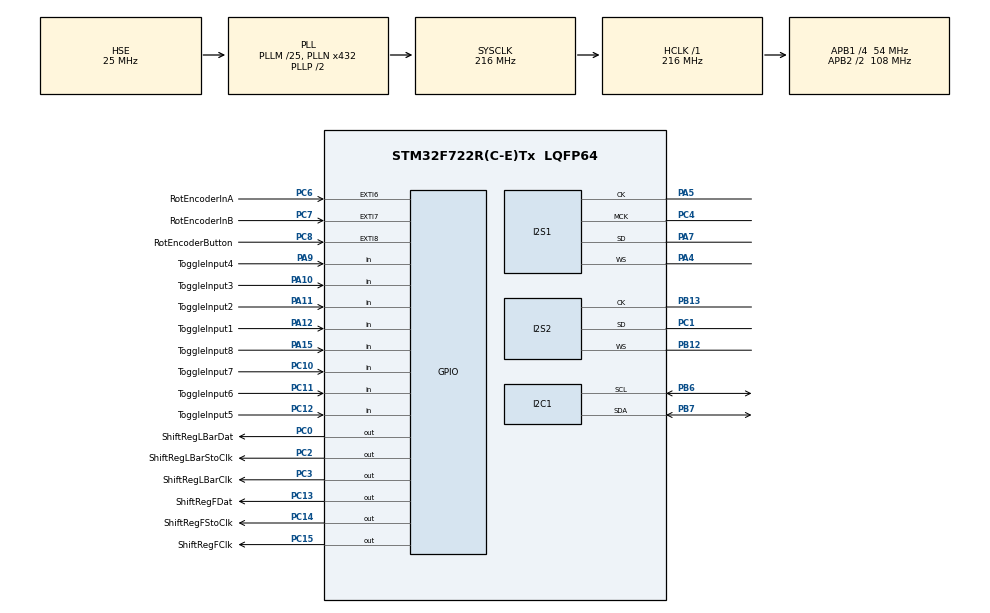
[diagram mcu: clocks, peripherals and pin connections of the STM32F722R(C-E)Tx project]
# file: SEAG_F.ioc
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Dma.Request0=SPI2_RX
Dma.Request1=SPI1_TX
Dma.SPI1_TX.1.Direction=DMA_MEMORY_TO_PERIPH
Dma.SPI1_TX.1.FIFOMode=DMA_FIFOMODE_DISABLE
Dma.SPI1_TX.1.Instance=DMA2_Stream3
Dma.SPI1_TX.1.MemDataAlignment=DMA_MDATAALIGN_HALFWORD
Dma.SPI1_TX.1.MemInc=DMA_MINC_ENABLE
Dma.SPI1_TX.1.Mode=DMA_CIRCULAR
Dma.SPI1_TX.1.PeriphDataAlignment=DMA_PDATAALIGN_HALFWORD
Dma.SPI1_TX.1.PeriphInc=DMA_PINC_DISABLE
Dma.SPI1_TX.1.Priority=DMA_PRIORITY_VERY_HIGH
Dma.SPI2_RX.0.Direction=DMA_PERIPH_TO_MEMORY
Dma.SPI2_RX.0.FIFOMode=DMA_FIFOMODE_DISABLE
Dma.SPI2_RX.0.Instance=DMA1_Stream3
Dma.SPI2_RX.0.MemDataAlignment=DMA_MDATAALIGN_HALFWORD
Dma.SPI2_RX.0.MemInc=DMA_MINC_ENABLE
Dma.SPI2_RX.0.Mode=DMA_CIRCULAR
Dma.SPI2_RX.0.PeriphDataAlignment=DMA_PDATAALIGN_HALFWORD
Dma.SPI2_RX.0.PeriphInc=DMA_PINC_DISABLE
Dma.SPI2_RX.0.Priority=DMA_PRIORITY_VERY_HIGH
I2C1.Timing=0x20404768
I2S1.AudioFreq=I2S_AUDIOFREQ_44K
I2S1.DataFormat=I2S_DATAFORMAT_16B
I2S1.ErrorAudioFreq=-5.3 %
I2S1.FullDuplexMode=I2S_FULLDUPLEXMODE_DISABLE
I2S1.Instance=SPI$Index
I2S1.Mode=I2S_MODE_MASTER_TX
I2S1.RealAudioFreq=41.666 KHz
I2S1.VirtualMode=I2S_MODE_MASTER
I2S2.AudioFreq=I2S_AUDIOFREQ_44K
I2S2.DataFormat=I2S_DATAFORMAT_16B
I2S2.ErrorAudioFreq=0.26 %
I2S2.FullDuplexMode=I2S_FULLDUPLEXMODE_DISABLE
I2S2.Instance=SPI$Index
I2S2.Mode=I2S_MODE_SLAVE_RX
I2S2.RealAudioFreq=44.117 KHz
I2S2.VirtualMode=I2S_MODE_SLAVE
Mcu.Family=STM32F7
Mcu.Name=STM32F722R(C-E)Tx
Mcu.Package=LQFP64
NVIC.DMA1_Stream3_IRQn=true\:0\:0\:false\:false\:true\:false\:true\:true
NVIC.DMA2_Stream3_IRQn=true\:0\:0\:false\:false\:true\:false\:true\:true
NVIC.EXTI9_5_IRQn=true\:0\:0\:false\:false\:true\:true\:true\:true
NVIC.PriorityGroup=NVIC_PRIORITYGROUP_4
PA10.GPIO_Label=ToggleInput3
PA10.Signal=GPIO_Input
PA11.GPIO_Label=ToggleInput2
PA11.Signal=GPIO_Input
PA12.GPIO_Label=ToggleInput1
PA12.Signal=GPIO_Input
PA13.Mode=Serial_Wire
PA13.Signal=SYS_JTMS-SWDIO
PA14.Mode=Serial_Wire
PA14.Signal=SYS_JTCK-SWCLK
PA15.GPIO_Label=ToggleInput8
PA15.Signal=GPIO_Input
PA4.Mode=Half_Duplex_Master
PA4.Signal=I2S1_WS
PA5.Mode=Half_Duplex_Master
PA5.Signal=I2S1_CK
PA7.Mode=Half_Duplex_Master
PA7.Signal=I2S1_SD
PA9.GPIO_Label=ToggleInput4
PA9.Signal=GPIO_Input
PB12.Mode=Half_Duplex_Slave
PB12.Signal=I2S2_WS
PB13.Mode=Half_Duplex_Slave
PB13.Signal=I2S2_CK
PB6.Mode=I2C
PB6.Signal=I2C1_SCL
PB7.Mode=I2C
PB7.Signal=I2C1_SDA
PC0.GPIO_Label=ShiftRegLBarDat
PC0.Signal=GPIO_Output
PC1.Mode=Half_Duplex_Slave
PC1.Signal=I2S2_SD
PC10.GPIO_Label=ToggleInput7
PC10.Signal=GPIO_Input
PC11.GPIO_Label=ToggleInput6
PC11.Signal=GPIO_Input
PC12.GPIO_Label=ToggleInput5
PC12.Signal=GPIO_Input
PC13.GPIO_Label=ShiftRegFDat
PC13.Signal=GPIO_Output
PC14-OSC32_IN.GPIO_Label=ShiftRegFStoClk
PC14-OSC32_IN.Signal=GPIO_Output
PC15-OSC32_OUT.GPIO_Label=ShiftRegFClk
PC15-OSC32_OUT.Signal=GPIO_Output
PC2.GPIO_Label=ShiftRegLBarStoClk
PC2.Signal=GPIO_Output
PC3.GPIO_Label=ShiftRegLBarClk
PC3.Signal=GPIO_Output
PC4.Mode=Master_Clock_Activated
PC4.Signal=I2S1_MCK
PC6.GPIO_Label=RotEncoderInA
PC6.Signal=GPXTI6
PC7.GPIO_Label=RotEncoderInB
PC7.GPIO_ModeDefaultEXTI=GPIO_MODE_IT_RISING_FALLING
PC7.Signal=GPXTI7
PC8.GPIO_Label=RotEncoderButton
PC8.GPIO_ModeDefaultEXTI=GPIO_MODE_IT_RISING
PC8.Signal=GPXTI8
PH0-OSC_IN.Mode=HSE-External-Oscillator
PH0-OSC_IN.Signal=RCC_OSC_IN
PH1-OSC_OUT.Mode=HSE-External-Oscillator
PH1-OSC_OUT.Signal=RCC_OSC_OUT
ProjectManager.HeapSize=0x200
ProjectManager.StackSize=0x400
ProjectManager.TargetToolchain=STM32CubeIDE
RCC.AHBFreq_Value=216000000
RCC.APB1CLKDivider=RCC_HCLK_DIV4
RCC.APB1Freq_Value=54000000
RCC.APB1TimFreq_Value=108000000
RCC.APB2CLKDivider=RCC_HCLK_DIV2
RCC.APB2Freq_Value=108000000
RCC.APB2TimFreq_Value=216000000
RCC.CortexFreq_Value=216000000
RCC.HCLKFreq_Value=216000000
RCC.HSE_VALUE=25000000
RCC.HSI_VALUE=16000000
RCC.LSE_VALUE=32768
RCC.PLLM=25
RCC.PLLN=432
RCC.PLLSourceVirtual=RCC_PLLSOURCE_HSE
RCC.SYSCLKFreq_VALUE=216000000
RCC.SYSCLKSource=RCC_SYSCLKSOURCE_PLLCLK
RCC.USBFreq_Value=216000000
RCC.VCOOutputFreq_Value=432000000
board=custom

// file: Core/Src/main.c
/* USER CODE BEGIN Header */
/**
  ******************************************************************************
  * @file           : main.c
  * @brief          : Main program body
  ******************************************************************************
  * @attention
  *
  * Copyright (c) 2024 STMicroelectronics.
  * All rights reserved.
  *
  * This software is licensed under terms that can be found in the LICENSE file
  * in the root directory of this software component.
  * If no LICENSE file comes with this software, it is provided AS-IS.
  *
  ******************************************************************************
  */
/* USER CODE END Header */
#include "main.h"

I2C_HandleTypeDef hi2c1;

I2S_HandleTypeDef hi2s1;
I2S_HandleTypeDef hi2s2;
DMA_HandleTypeDef hdma_spi1_tx;
DMA_HandleTypeDef hdma_spi2_rx;

void SystemClock_Config(void);
void PeriphCommonClock_Config(void);
static void MX_GPIO_Init(void);
static void MX_DMA_Init(void);
static void MX_I2C1_Init(void);
static void MX_I2S1_Init(void);
static void MX_I2S2_Init(void);

/* USER CODE BEGIN 0 */

uint32_t previousMillis;

/* USER CODE END 0 */

int main(void)
{

  /* MCU Configuration--------------------------------------------------------*/

  /* Reset of all peripherals, Initializes the Flash interface and the Systick. */
  HAL_Init();

  /* Configure the system clock */
  SystemClock_Config();

/* Configure the peripherals common clocks */
  PeriphCommonClock_Config();

  /* Initialize all configured peripherals */
  MX_GPIO_Init();
  MX_DMA_Init();
  MX_I2C1_Init();
  MX_I2S1_Init();
  MX_I2S2_Init();
  /* USER CODE BEGIN 2 */

  initSin();

  InitIO();
  CodecInit(&hi2c1);

  InitDSP(44000, &hi2s1, &hi2s2); //44117 is in IOC file

  /* USER CODE END 2 */

  /* Infinite loop */
  /* USER CODE BEGIN WHILE */
  while (1)
  {

	IOUpdate();
	DSPUpdate(&hi2s1);

    /* USER CODE END WHILE */

  }
}

void SystemClock_Config(void)
{
  RCC_OscInitTypeDef RCC_OscInitStruct = {0};
  RCC_ClkInitTypeDef RCC_ClkInitStruct = {0};

  /** Configure the main internal regulator output voltage
  */
  __HAL_RCC_PWR_CLK_ENABLE();
  __HAL_PWR_VOLTAGESCALING_CONFIG(PWR_REGULATOR_VOLTAGE_SCALE1);

  /** Initializes the RCC Oscillators according to the specified parameters
  * in the RCC_OscInitTypeDef structure.
  */
  RCC_OscInitStruct.OscillatorType = RCC_OSCILLATORTYPE_HSE;
  RCC_OscInitStruct.HSEState = RCC_HSE_ON;
  RCC_OscInitStruct.PLL.PLLState = RCC_PLL_ON;
  RCC_OscInitStruct.PLL.PLLSource = RCC_PLLSOURCE_HSE;
  RCC_OscInitStruct.PLL.PLLM = 25;
  RCC_OscInitStruct.PLL.PLLN = 432;
  RCC_OscInitStruct.PLL.PLLP = RCC_PLLP_DIV2;
  RCC_OscInitStruct.PLL.PLLQ = 2;
  if (HAL_RCC_OscConfig(&RCC_OscInitStruct) != HAL_OK)
  {
    Error_Handler();
  }

  /** Activate the Over-Drive mode
  */
  if (HAL_PWREx_EnableOverDrive() != HAL_OK)
  {
    Error_Handler();
  }

  /** Initializes the CPU, AHB and APB buses clocks
  */
  RCC_ClkInitStruct.ClockType = RCC_CLOCKTYPE_HCLK|RCC_CLOCKTYPE_SYSCLK
                              |RCC_CLOCKTYPE_PCLK1|RCC_CLOCKTYPE_PCLK2;
  RCC_ClkInitStruct.SYSCLKSource = RCC_SYSCLKSOURCE_PLLCLK;
  RCC_ClkInitStruct.AHBCLKDivider = RCC_SYSCLK_DIV1;
  RCC_ClkInitStruct.APB1CLKDivider = RCC_HCLK_DIV4;
  RCC_ClkInitStruct.APB2CLKDivider = RCC_HCLK_DIV2;

  if (HAL_RCC_ClockConfig(&RCC_ClkInitStruct, FLASH_LATENCY_7) != HAL_OK)
  {
    Error_Handler();
  }
}

void PeriphCommonClock_Config(void)
{
  RCC_PeriphCLKInitTypeDef PeriphClkInitStruct = {0};

  /** Initializes the peripherals clock
  */
  PeriphClkInitStruct.PeriphClockSelection = RCC_PERIPHCLK_I2S;
  PeriphClkInitStruct.PLLI2S.PLLI2SN = 192;
  PeriphClkInitStruct.PLLI2S.PLLI2SR = 2;
  PeriphClkInitStruct.PLLI2S.PLLI2SQ = 2;
  PeriphClkInitStruct.PLLI2SDivQ = 1;
  PeriphClkInitStruct.I2sClockSelection = RCC_I2SCLKSOURCE_PLLI2S;
  if (HAL_RCCEx_PeriphCLKConfig(&PeriphClkInitStruct) != HAL_OK)
  {
    Error_Handler();
  }
}

static void MX_I2C1_Init(void)
{

  hi2c1.Instance = I2C1;
  hi2c1.Init.Timing = 0x20404768;
  hi2c1.Init.OwnAddress1 = 0;
  hi2c1.Init.AddressingMode = I2C_ADDRESSINGMODE_7BIT;
  hi2c1.Init.DualAddressMode = I2C_DUALADDRESS_DISABLE;
  hi2c1.Init.OwnAddress2 = 0;
  hi2c1.Init.OwnAddress2Masks = I2C_OA2_NOMASK;
  hi2c1.Init.GeneralCallMode = I2C_GENERALCALL_DISABLE;
  hi2c1.Init.NoStretchMode = I2C_NOSTRETCH_DISABLE;
  if (HAL_I2C_Init(&hi2c1) != HAL_OK)
  {
    Error_Handler();
  }

  /** Configure Analogue filter
  */
  if (HAL_I2CEx_ConfigAnalogFilter(&hi2c1, I2C_ANALOGFILTER_ENABLE) != HAL_OK)
  {
    Error_Handler();
  }

  /** Configure Digital filter
  */
  if (HAL_I2CEx_ConfigDigitalFilter(&hi2c1, 0) != HAL_OK)
  {
    Error_Handler();
  }

}

static void MX_I2S1_Init(void)
{

  hi2s1.Instance = SPI1;
  hi2s1.Init.Mode = I2S_MODE_MASTER_TX;
  hi2s1.Init.Standard = I2S_STANDARD_PHILIPS;
  hi2s1.Init.DataFormat = I2S_DATAFORMAT_16B;
  hi2s1.Init.MCLKOutput = I2S_MCLKOUTPUT_ENABLE;
  hi2s1.Init.AudioFreq = I2S_AUDIOFREQ_44K;
  hi2s1.Init.CPOL = I2S_CPOL_LOW;
  hi2s1.Init.ClockSource = I2S_CLOCK_PLL;
  if (HAL_I2S_Init(&hi2s1) != HAL_OK)
  {
    Error_Handler();
  }

}

static void MX_I2S2_Init(void)
{

  hi2s2.Instance = SPI2;
  hi2s2.Init.Mode = I2S_MODE_SLAVE_RX;
  hi2s2.Init.Standard = I2S_STANDARD_PHILIPS;
  hi2s2.Init.DataFormat = I2S_DATAFORMAT_16B;
  hi2s2.Init.MCLKOutput = I2S_MCLKOUTPUT_DISABLE;
  hi2s2.Init.AudioFreq = I2S_AUDIOFREQ_44K;
  hi2s2.Init.CPOL = I2S_CPOL_LOW;
  hi2s2.Init.ClockSource = I2S_CLOCK_PLL;
  if (HAL_I2S_Init(&hi2s2) != HAL_OK)
  {
    Error_Handler();
  }

}

static void MX_DMA_Init(void)
{

  /* DMA controller clock enable */
  __HAL_RCC_DMA1_CLK_ENABLE();
  __HAL_RCC_DMA2_CLK_ENABLE();

  /* DMA interrupt init */
  /* DMA1_Stream3_IRQn interrupt configuration */
  HAL_NVIC_SetPriority(DMA1_Stream3_IRQn, 0, 0);
  HAL_NVIC_EnableIRQ(DMA1_Stream3_IRQn);
  /* DMA2_Stream3_IRQn interrupt configuration */
  HAL_NVIC_SetPriority(DMA2_Stream3_IRQn, 0, 0);
  HAL_NVIC_EnableIRQ(DMA2_Stream3_IRQn);

}

static void MX_GPIO_Init(void)
{
  GPIO_InitTypeDef GPIO_InitStruct = {0};

  /* GPIO Ports Clock Enable */
  __HAL_RCC_GPIOC_CLK_ENABLE();
  __HAL_RCC_GPIOH_CLK_ENABLE();
  __HAL_RCC_GPIOA_CLK_ENABLE();
  __HAL_RCC_GPIOB_CLK_ENABLE();

  /*Configure GPIO pin Output Level */
  HAL_GPIO_WritePin(GPIOC, ShiftRegFDat_Pin|ShiftRegFStoClk_Pin|ShiftRegFClk_Pin|ShiftRegLBarDat_Pin
                          |ShiftRegLBarStoClk_Pin|ShiftRegLBarClk_Pin, GPIO_PIN_RESET);

  /*Configure GPIO pins : ShiftRegFDat_Pin ShiftRegFStoClk_Pin ShiftRegFClk_Pin ShiftRegLBarDat_Pin
                           ShiftRegLBarStoClk_Pin ShiftRegLBarClk_Pin */
  GPIO_InitStruct.Pin = ShiftRegFDat_Pin|ShiftRegFStoClk_Pin|ShiftRegFClk_Pin|ShiftRegLBarDat_Pin
                          |ShiftRegLBarStoClk_Pin|ShiftRegLBarClk_Pin;
  GPIO_InitStruct.Mode = GPIO_MODE_OUTPUT_PP;
  GPIO_InitStruct.Pull = GPIO_NOPULL;
  GPIO_InitStruct.Speed = GPIO_SPEED_FREQ_LOW;
  HAL_GPIO_Init(GPIOC, &GPIO_InitStruct);

  /*Configure GPIO pins : RotEncoderInA_Pin RotEncoderButton_Pin */
  GPIO_InitStruct.Pin = RotEncoderInA_Pin|RotEncoderButton_Pin;
  GPIO_InitStruct.Mode = GPIO_MODE_IT_RISING;
  GPIO_InitStruct.Pull = GPIO_NOPULL;
  HAL_GPIO_Init(GPIOC, &GPIO_InitStruct);

  /*Configure GPIO pin : RotEncoderInB_Pin */
  GPIO_InitStruct.Pin = RotEncoderInB_Pin;
  GPIO_InitStruct.Mode = GPIO_MODE_IT_RISING_FALLING;
  GPIO_InitStruct.Pull = GPIO_NOPULL;
  HAL_GPIO_Init(RotEncoderInB_GPIO_Port, &GPIO_InitStruct);

  /*Configure GPIO pins : ToggleInput4_Pin ToggleInput3_Pin ToggleInput2_Pin ToggleInput1_Pin
                           ToggleInput8_Pin */
  GPIO_InitStruct.Pin = ToggleInput4_Pin|ToggleInput3_Pin|ToggleInput2_Pin|ToggleInput1_Pin
                          |ToggleInput8_Pin;
  GPIO_InitStruct.Mode = GPIO_MODE_INPUT;
  GPIO_InitStruct.Pull = GPIO_NOPULL;
  HAL_GPIO_Init(GPIOA, &GPIO_InitStruct);

  /*Configure GPIO pins : ToggleInput7_Pin ToggleInput6_Pin ToggleInput5_Pin */
  GPIO_InitStruct.Pin = ToggleInput7_Pin|ToggleInput6_Pin|ToggleInput5_Pin;
  GPIO_InitStruct.Mode = GPIO_MODE_INPUT;
  GPIO_InitStruct.Pull = GPIO_NOPULL;
  HAL_GPIO_Init(GPIOC, &GPIO_InitStruct);

  /* EXTI interrupt init*/
  HAL_NVIC_SetPriority(EXTI9_5_IRQn, 0, 0);
  HAL_NVIC_EnableIRQ(EXTI9_5_IRQn);

}

/* USER CODE BEGIN 4 */

void HAL_GPIO_EXTI_Callback(uint16_t GPIO_Pin){

  /* Prevent unused argument(s) compilation warning */
  uint32_t currentMillis = HAL_GetTick();
  UNUSED(GPIO_Pin);

  if(GPIO_Pin == RotEncoderButton_Pin && (currentMillis - previousMillis > 100)){
	  ButtonInterrupt();
  }

  if(GPIO_Pin == RotEncoderInA_Pin || GPIO_Pin == RotEncoderInB_Pin){
	  RotaryEncoderInterrupt();
  }

  previousMillis = currentMillis;

}

/* USER CODE END 4 */

void Error_Handler(void)
{
  __disable_irq();
  while (1)
  {
  }
}
